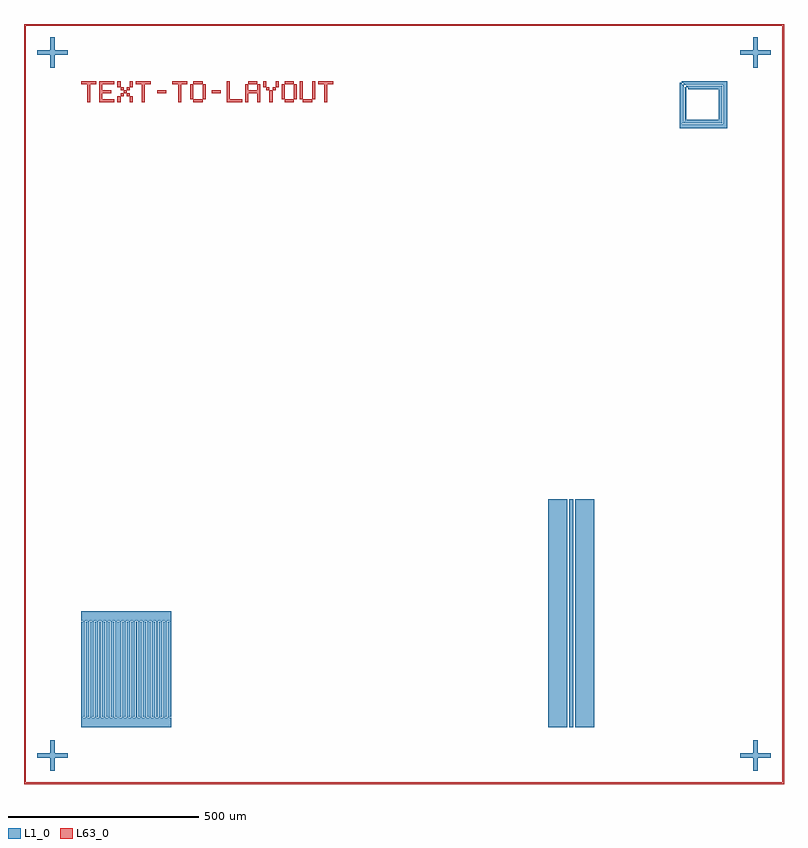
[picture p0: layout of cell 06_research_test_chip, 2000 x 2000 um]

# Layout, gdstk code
import gdstk
lib = gdstk.Library(unit=1e-6, precision=1e-09)
def R(c, l, rs):  # rectangles x0, y0, x1, y1
    for r in rs: c.add(gdstk.rectangle(r[:2], r[2:], *l))
def A(c, l, x, y, w, h, nx, ny, dx, dy):  # array of equal rectangles
    R(c, l, [(x+i*dx, y+j*dy, x+i*dx+w, y+j*dy+h) for i in range(nx) for j in range(ny)])
L1_0 = (1, 0)
L63_0 = (63, 0)

c_06_research_test_chip = lib.new_cell('06_research_test_chip')
A(c_06_research_test_chip, L1_0, 150, 175, 4, 252, 20, 1, 12, 0)
A(c_06_research_test_chip, L1_0, 156, 177, 4, 252, 20, 1, 12, 0)
R(c_06_research_test_chip, L1_0, [(69,35,81,115), (1919,35,1931,115), (35,69,115,81), (1885,69,1965,81), (150,150,388,175), (1379.017,150,1429.017,750), (1435,150,1445,750), (1450.983,150,1500.983,750), (150,429,388,454), (1726.303,1726.303,1850,1730.303), (1846,1726.303,1850,1850), (1726.303,1732.303,1736.303,1736.303), (1732.303,1732.303,1844,1736.303), (1840,1732.303,1844,1844), (1726.303,1736.303,1730.303,1846), (1732.303,1738.303,1742.303,1742.303), (1738.303,1738.303,1838,1742.303), (1834,1738.303,1838,1838), (1732.303,1742.303,1736.303,1840), (1738.303,1744.303,1748.303,1748.303), (1744.303,1744.303,1832,1748.303), (1828,1744.303,1832,1832), (1738.303,1748.303,1742.303,1834), (1748.303,1828,1828,1832), (1742.303,1834,1834,1838), (1736.303,1840,1840,1844), (1730.303,1846,1846,1850), (69,1885,81,1965), (1919,1885,1931,1965), (35,1919,115,1931), (1885,1919,1965,1931)])
A(c_06_research_test_chip, L63_0, 166, 1794, 8, 8, 1, 6, 0, 8)
A(c_06_research_test_chip, L63_0, 246, 1794, 8, 8, 3, 2, 32, 8)
A(c_06_research_test_chip, L63_0, 582, 1794, 8, 8, 3, 1, 32, 0)
A(c_06_research_test_chip, L63_0, 406, 1802, 8, 8, 3, 5, 32, 8)
A(c_06_research_test_chip, L63_0, 534, 1802, 8, 8, 1, 6, 0, 8)
A(c_06_research_test_chip, L63_0, 582, 1802, 8, 8, 5, 2, 32, 8)
A(c_06_research_test_chip, L63_0, 726, 1802, 8, 8, 3, 5, 32, 8)
A(c_06_research_test_chip, L63_0, 310, 1810, 8, 8, 1, 3, 0, 8)
A(c_06_research_test_chip, L63_0, 646, 1818, 8, 8, 3, 1, 32, 0)
A(c_06_research_test_chip, L63_0, 246, 1834, 8, 8, 3, 1, 32, 0)
A(c_06_research_test_chip, L63_0, 198, 1842, 40, 8, 3, 1, 96, 0)
R(c_06_research_test_chip, L63_0, [(0,0,2000,5), (0,5,5,1995), (1995,5,2000,1995), (198,1794,238,1802), (406,1794,414,1802), (446,1794,470,1802), (534,1794,574,1802), (686,1794,710,1802), (734,1794,758,1802), (790,1794,798,1802), (198,1802,206,1810), (198,1810,206,1818), (254,1810,262,1818), (270,1810,278,1818), (198,1818,230,1826), (262,1818,270,1826), (350,1818,374,1826), (494,1818,518,1826), (582,1818,622,1826), (198,1826,206,1834), (254,1826,262,1834), (270,1826,278,1834), (582,1826,590,1834), (614,1826,622,1834), (638,1826,646,1834), (654,1826,662,1834), (678,1826,686,1834), (710,1826,718,1834), (198,1834,206,1842), (582,1834,590,1842), (614,1834,622,1842), (630,1834,638,1842), (662,1834,670,1842), (678,1834,686,1842), (710,1834,718,1842), (150,1842,190,1850), (246,1842,254,1850), (278,1842,286,1850), (446,1842,470,1850), (590,1842,614,1850), (630,1842,638,1850), (662,1842,670,1850), (686,1842,710,1850), (726,1842,734,1850), (758,1842,766,1850), (774,1842,814,1850), (0,1995,2000,2000)])

lib.write_gds('06_research_test_chip.gds')
